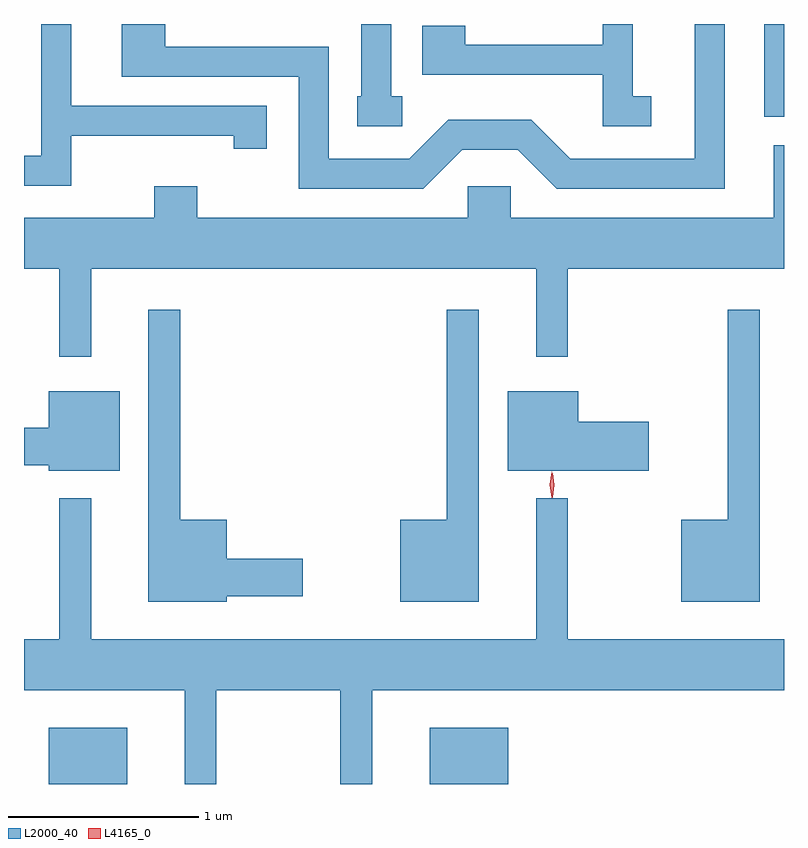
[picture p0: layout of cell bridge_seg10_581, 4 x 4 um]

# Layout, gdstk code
import gdstk
lib = gdstk.Library(unit=1e-6, precision=1e-09)
def R(c, l, rs):  # rectangles x0, y0, x1, y1
    for r in rs: c.add(gdstk.rectangle(r[:2], r[2:], *l))
def P(c, l, *ps):  # polygons
    for p in ps: c.add(gdstk.Polygon(p, *l))
L2000_40 = (2000, 40)
L4165_0 = (4165, 0)

bridge_seg10_581 = lib.new_cell('bridge_seg10_581')
R(bridge_seg10_581, L2000_40, [(758.456,2108.983,758.869,2109.279), (760.461,2108.983,760.874,2109.279), (762.221,2112.496,762.326,2112.983)])
P(bridge_seg10_581, L2000_40, [(760.632,2112.321),(760.924,2112.321),(761.129,2112.116),(762.014,2112.116),(762.014,2112.983),(761.856,2112.983),(761.856,2112.274),(761.202,2112.274),(760.997,2112.479),(760.559,2112.479),(760.354,2112.274),(759.929,2112.274),(759.929,2112.864),(759.069,2112.864),(759.069,2112.983),(758.841,2112.983),(758.841,2112.706),(759.771,2112.706),(759.771,2112.116),(760.427,2112.116)],
  [(758.574,2112.396),(759.431,2112.396),(759.431,2112.326),(759.604,2112.326),(759.604,2112.554),(758.574,2112.554),(758.574,2112.983),(758.416,2112.983),(758.416,2112.289),(758.326,2112.289),(758.326,2112.131),(758.574,2112.131)],
  [(761.628,2112.604),(761.529,2112.604),(761.529,2112.983),(761.371,2112.983),(761.371,2112.874),(760.649,2112.874),(760.649,2112.974),(760.421,2112.974),(760.421,2112.716),(761.371,2112.716),(761.371,2112.446),(761.628,2112.446)],
  [(760.318,2112.604),(760.259,2112.604),(760.259,2112.983),(760.101,2112.983),(760.101,2112.604),(760.081,2112.604),(760.081,2112.446),(760.318,2112.446)],
  [(758.679,2111.696),(761.021,2111.696),(761.021,2111.233),(761.189,2111.233),(761.189,2111.696),(762.326,2111.696),(762.326,2112.344),(762.271,2112.344),(762.271,2111.964),(760.889,2111.964),(760.889,2112.129),(760.661,2112.129),(760.661,2111.964),(759.239,2111.964),(759.239,2112.129),(759.011,2112.129),(759.011,2111.964),(758.326,2111.964),(758.326,2111.696),(758.511,2111.696),(758.511,2111.233),(758.679,2111.233)],
  [(760.719,2111.478),(760.551,2111.478),(760.551,2110.374),(760.306,2110.374),(760.306,2109.941),(760.719,2109.941)],
  [(759.394,2109.971),(759.794,2109.971),(759.794,2110.169),(759.394,2110.169),(759.394,2110.374),(759.149,2110.374),(759.149,2111.478),(758.981,2111.478),(758.981,2109.941),(759.394,2109.941)],
  [(762.199,2111.478),(762.031,2111.478),(762.031,2110.374),(761.786,2110.374),(761.786,2109.941),(762.199,2109.941)],
  [(758.829,2111.049),(758.456,2111.049),(758.456,2110.859),(758.326,2110.859),(758.326,2110.661),(758.456,2110.661),(758.456,2110.631),(758.829,2110.631)],
  [(761.614,2110.889),(761.244,2110.889),(761.244,2111.049),(760.871,2111.049),(760.871,2110.631),(761.614,2110.631)],
  [(759.339,2109.476),(759.991,2109.476),(759.991,2108.983),(760.159,2108.983),(760.159,2109.476),(762.326,2109.476),(762.326,2109.744),(761.189,2109.744),(761.189,2110.488),(761.021,2110.488),(761.021,2109.744),(758.679,2109.744),(758.679,2110.488),(758.511,2110.488),(758.511,2109.744),(758.326,2109.744),(758.326,2109.476),(759.171,2109.476),(759.171,2108.983),(759.339,2108.983)])
P(bridge_seg10_581, L4165_0, [(761.104,2110.49),(761.094,2110.558),(761.104,2110.626),(761.104,2110.626),(761.104,2110.626),(761.114,2110.558),(761.105,2110.49),(761.105,2110.49)],
  [(761.108,2110.493),(761.108,2110.494),(761.098,2110.556),(761.108,2110.62),(761.108,2110.62),(761.109,2110.62),(761.118,2110.556),(761.109,2110.494)])

lib.write_gds('bridge_seg10_581.gds')
